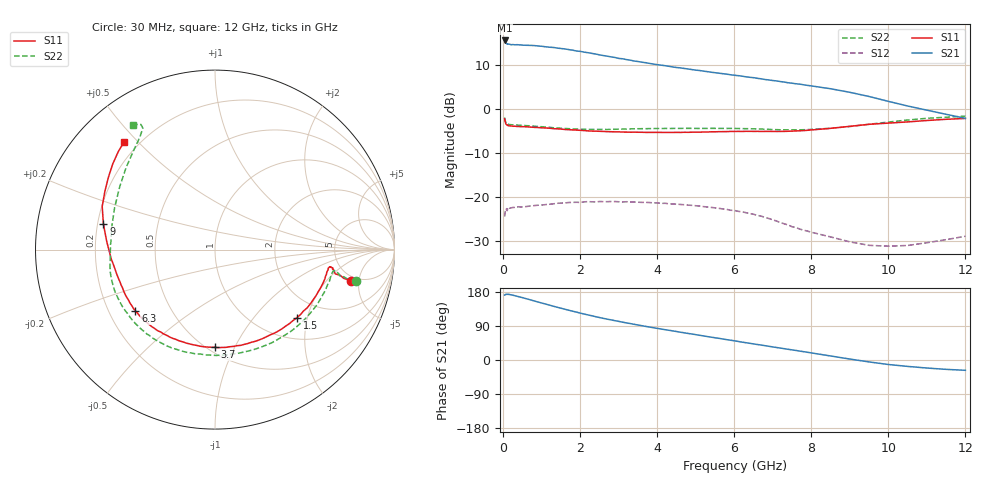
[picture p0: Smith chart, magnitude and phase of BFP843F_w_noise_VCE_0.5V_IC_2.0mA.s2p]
! Infineon Technologies  Discrete & RF Semiconductors
! BFP843F
! VCE =  0.5 V,  IC =  2.0 mA
! Common Emitter S-Parameters:  Aug 2013
# GHz  S  MA  R  50
!  f  S11  S21  S12  S22
! GHz  MAG  ANG  MAG  ANG  MAG  ANG  MAG  ANG
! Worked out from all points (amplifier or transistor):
!   103 points, 30 MHz to 12 GHz, reference 50 ohm
!   highest |S21| = 15.6 dB at 30 MHz (marker M1)
!   |S21| within 3 dB of that: start of sweep to 2.339 GHz
!   unconditionally stable (mu >= 1): 147.4 MHz to 477.5 MHz; 5.263 GHz to end of sweep
!   at 400 MHz: K = 1.01, MAG = 17.9 dB, |S12| = -22.2 dB
!   at 3.7 GHz: K = 0.86, MSG = 15.9 dB, |S12| = -21.2 dB
!   at 12 GHz: K = 2.16, MAG = 7.3 dB, |S12| = -28.9 dB
!   lowest NFmin = 1.09 dB at 450 MHz
!   S11 on the Smith chart (normalised r, x): 30 MHz: 4.46, -3.94; 1.5 GHz: 1.48, -1.73; 3.7 GHz: 0.54, -0.84; 6.3 GHz: 0.31, -0.31; 9 GHz: 0.22, +0.11; 12 GHz: 0.15, +0.46
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0.03  0.7786 -12.9  6.028 171.1  0.0603 37.5  0.8042 -12.7
0.04  0.7352 -12.6  5.842 171.1  0.0652 29.3  0.7594 -12.6
0.05  0.7121 -11.6  5.671 172.9  0.0692 26.0  0.7327 -11.9
0.1  0.6636 -8.8  5.455 173.2  0.0705 13.3  0.6787 -10.0
0.15  0.647 -8.5  5.471 173.1  0.0752 8.5  0.6693 -10.2
0.8  0.6211 -22.2  5.273 155.8  0.0803 2.7  0.6403 -32.0
1.3  0.6001 -34.8  5.021 141.8  0.0842 0.2  0.6151 -51.0
1.5  0.5933 -39.7  4.881 136.6  0.0857 -0.8  0.6078 -58.5
1.8  0.5803 -47.3  4.673 128.7  0.0874 -3.1  0.5973 -69.4
2.1  0.5713 -54.5  4.44 121.2  0.0886 -5.4  0.5898 -80.0
2.4  0.5625 -61.6  4.224 114.2  0.0885 -8.0  0.5898 -89.4
2.9  0.5525 -72.9  3.86 103.7  0.0893 -12.3  0.5909 -103.0
3.7  0.5445 -90.2  3.367 88.6  0.0874 -18.7  0.6002 -119.9
4.1  0.5446 -98.7  3.161 81.7  0.0851 -22.0  0.6019 -127.2
5.1  0.5482 -119.6  2.746 65.1  0.0795 -30.2  0.6033 -143.9
6.1  0.5593 -138.7  2.401 48.9  0.0691 -38.9  0.6026 -159.9
6.3  0.5603 -142.3  2.33 45.6  0.0667 -40.5  0.6004 -163.1
7.3  0.559 -161.3  2.029 29.8  0.0498 -46.1  0.5832 -179.4
8.5  0.6057 175.5  1.705 10.6  0.0354 -37.3  0.6064 157.2
9  0.6383 167.0  1.553 2.5  0.0311 -31.1  0.6355 146.7
10.5  0.7167 146.1  1.086 -16.9  0.0283 -1.9  0.7529 123.8
12  0.7848 130.2  0.787 -27.2  0.036 17.6  0.8333 123.3
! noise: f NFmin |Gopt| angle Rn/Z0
0.45  1.09  0.34  11  0.15
0.9  1.1  0.34  19  0.16
1.5  1.21  0.33  27  0.17
1.9  1.28  0.31  40  0.17
2.4  1.33  0.31  50  0.18
3.5  1.43  0.32  76  0.23
5.5  1.57  0.28  126  0.33
10  2.71  0.48  -138  0.45
